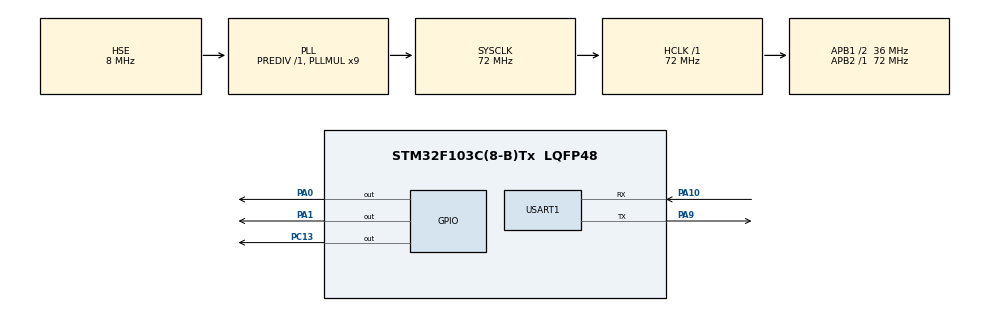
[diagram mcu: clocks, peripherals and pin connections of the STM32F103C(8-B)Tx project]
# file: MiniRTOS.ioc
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Mcu.Family=STM32F1
Mcu.Name=STM32F103C(8-B)Tx
Mcu.Package=LQFP48
NVIC.PriorityGroup=NVIC_PRIORITYGROUP_4
NVIC.TIM2_IRQn=true\:0\:0\:false\:false\:true\:true\:true\:true
PA0-WKUP.Signal=GPIO_Output
PA1.Signal=GPIO_Output
PA10.Mode=Asynchronous
PA10.Signal=USART1_RX
PA13.Mode=Serial_Wire
PA13.Signal=SYS_JTMS-SWDIO
PA14.Mode=Serial_Wire
PA14.Signal=SYS_JTCK-SWCLK
PA9.Mode=Asynchronous
PA9.Signal=USART1_TX
PC13-TAMPER-RTC.Signal=GPIO_Output
PD0-OSC_IN.Mode=HSE-External-Oscillator
PD0-OSC_IN.Signal=RCC_OSC_IN
PD1-OSC_OUT.Mode=HSE-External-Oscillator
PD1-OSC_OUT.Signal=RCC_OSC_OUT
ProjectManager.HeapSize=0x200
ProjectManager.StackSize=0x400
ProjectManager.TargetToolchain=CMake
RCC.AHBFreq_Value=72000000
RCC.APB1CLKDivider=RCC_HCLK_DIV2
RCC.APB1Freq_Value=36000000
RCC.APB1TimFreq_Value=72000000
RCC.APB2Freq_Value=72000000
RCC.APB2TimFreq_Value=72000000
RCC.HCLKFreq_Value=72000000
RCC.PLLMUL=RCC_PLL_MUL9
RCC.PLLSourceVirtual=RCC_PLLSOURCE_HSE
RCC.SYSCLKFreq_VALUE=72000000
RCC.SYSCLKSource=RCC_SYSCLKSOURCE_PLLCLK
RCC.USBFreq_Value=72000000
TIM2.Prescaler=7199
USART1.VirtualMode=VM_ASYNC
VP_TIM2_VS_ClockSourceINT.Mode=Internal
board=custom

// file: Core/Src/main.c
/* USER CODE BEGIN Header */
/**
  ******************************************************************************
  * @file           : main.c
  * @brief          : Main program body
  ******************************************************************************
  * @attention
  *
  * Copyright (c) 2026 STMicroelectronics.
  * All rights reserved.
  *
  * This software is licensed under terms that can be found in the LICENSE file
  * in the root directory of this software component.
  * If no LICENSE file comes with this software, it is provided AS-IS.
  *
  ******************************************************************************
  */
/* USER CODE END Header */
#include "main.h"

/* USER CODE BEGIN Includes */
#include "kernel.h"
#include <assert.h>
#include <stdint.h>
/* USER CODE END Includes */

TIM_HandleTypeDef htim2;

UART_HandleTypeDef huart1;

/* USER CODE BEGIN PV */
#define STACK_WORDS 128

static uint32_t task_a_stack[STACK_WORDS] __attribute__((aligned(8)));
static uint32_t task_b_stack[STACK_WORDS] __attribute__((aligned(8)));
static uint32_t task_c_stack[STACK_WORDS] __attribute__((aligned(8)));

tcb_t task_a;
tcb_t task_b;
tcb_t task_c;

static sem_t g_task_sem;
static volatile uint32_t test_sink;
static volatile uint32_t sem_ok_count;
static volatile uint32_t sem_timeout_count;
/* USER CODE END PV */

void SystemClock_Config(void);
static void MX_GPIO_Init(void);
static void MX_USART1_UART_Init(void);
static void MX_TIM2_Init(void);

/* USER CODE BEGIN 0 */
static void task_a_entry(void *arg)
{
    (void)arg;

    while (1)
    {
        uint32_t start = HAL_GetTick();

        while ((uint32_t)(HAL_GetTick() - start) < 200U)
        {
            test_sink++;
        }
        task_yield();
    }
}

static void task_b_entry(void *arg)
{
    (void)arg;

    while (1)
    {
      sem_result_t result = sem_take_timeout(&g_task_sem, 300);
      if(result == SEM_OK)
      {
        sem_ok_count++;
        HAL_GPIO_TogglePin(GPIOC, GPIO_PIN_13);
      }
      else
      {
        sem_timeout_count++;
      }
    }
}

static void task_c_entry(void *arg)
{
  (void)arg;

  while(1)
  {
    task_delay(200);

    HAL_GPIO_TogglePin(GPIOA, GPIO_PIN_0);

    sem_give(&g_task_sem);
  }
}
/* USER CODE END 0 */

int main(void)
{

  /* MCU Configuration--------------------------------------------------------*/

  /* Reset of all peripherals, Initializes the Flash interface and the Systick. */
  HAL_Init();

  /* Configure the system clock */
  SystemClock_Config();

  /* Initialize all configured peripherals */
  MX_GPIO_Init();
  MX_USART1_UART_Init();
  MX_TIM2_Init();
  /* USER CODE BEGIN 2 */
  /* task_init() 初始化并注册用户任务；idle 由 rtos_start() 内部创建。 */
  task_init(&task_a, &task_a_stack[STACK_WORDS], task_a_entry, NULL, 1);
  task_init(&task_b, &task_b_stack[STACK_WORDS], task_b_entry, NULL, 2);
  task_init(&task_c, &task_c_stack[STACK_WORDS], task_c_entry, NULL, 1);

  sem_init(&g_task_sem, 0);
  rtos_start();
  /* USER CODE END 2 */

  /* Infinite loop */
  while (1)
  {

  }
}

void SystemClock_Config(void)
{
  RCC_OscInitTypeDef RCC_OscInitStruct = {0};
  RCC_ClkInitTypeDef RCC_ClkInitStruct = {0};

  /** Initializes the RCC Oscillators according to the specified parameters
  * in the RCC_OscInitTypeDef structure.
  */
  RCC_OscInitStruct.OscillatorType = RCC_OSCILLATORTYPE_HSE;
  RCC_OscInitStruct.HSEState = RCC_HSE_ON;
  RCC_OscInitStruct.HSEPredivValue = RCC_HSE_PREDIV_DIV1;
  RCC_OscInitStruct.HSIState = RCC_HSI_ON;
  RCC_OscInitStruct.PLL.PLLState = RCC_PLL_ON;
  RCC_OscInitStruct.PLL.PLLSource = RCC_PLLSOURCE_HSE;
  RCC_OscInitStruct.PLL.PLLMUL = RCC_PLL_MUL9;
  if (HAL_RCC_OscConfig(&RCC_OscInitStruct) != HAL_OK)
  {
    Error_Handler();
  }

  /** Initializes the CPU, AHB and APB buses clocks
  */
  RCC_ClkInitStruct.ClockType = RCC_CLOCKTYPE_HCLK|RCC_CLOCKTYPE_SYSCLK
                              |RCC_CLOCKTYPE_PCLK1|RCC_CLOCKTYPE_PCLK2;
  RCC_ClkInitStruct.SYSCLKSource = RCC_SYSCLKSOURCE_PLLCLK;
  RCC_ClkInitStruct.AHBCLKDivider = RCC_SYSCLK_DIV1;
  RCC_ClkInitStruct.APB1CLKDivider = RCC_HCLK_DIV2;
  RCC_ClkInitStruct.APB2CLKDivider = RCC_HCLK_DIV1;

  if (HAL_RCC_ClockConfig(&RCC_ClkInitStruct, FLASH_LATENCY_2) != HAL_OK)
  {
    Error_Handler();
  }
}

static void MX_TIM2_Init(void)
{

  TIM_ClockConfigTypeDef sClockSourceConfig = {0};
  TIM_MasterConfigTypeDef sMasterConfig = {0};

  htim2.Instance = TIM2;
  htim2.Init.Prescaler = 7199;
  htim2.Init.CounterMode = TIM_COUNTERMODE_UP;
  htim2.Init.Period = 65535;
  htim2.Init.ClockDivision = TIM_CLOCKDIVISION_DIV1;
  htim2.Init.AutoReloadPreload = TIM_AUTORELOAD_PRELOAD_DISABLE;
  if (HAL_TIM_Base_Init(&htim2) != HAL_OK)
  {
    Error_Handler();
  }
  sClockSourceConfig.ClockSource = TIM_CLOCKSOURCE_INTERNAL;
  if (HAL_TIM_ConfigClockSource(&htim2, &sClockSourceConfig) != HAL_OK)
  {
    Error_Handler();
  }
  sMasterConfig.MasterOutputTrigger = TIM_TRGO_RESET;
  sMasterConfig.MasterSlaveMode = TIM_MASTERSLAVEMODE_DISABLE;
  if (HAL_TIMEx_MasterConfigSynchronization(&htim2, &sMasterConfig) != HAL_OK)
  {
    Error_Handler();
  }

}

static void MX_USART1_UART_Init(void)
{

  huart1.Instance = USART1;
  huart1.Init.BaudRate = 115200;
  huart1.Init.WordLength = UART_WORDLENGTH_8B;
  huart1.Init.StopBits = UART_STOPBITS_1;
  huart1.Init.Parity = UART_PARITY_NONE;
  huart1.Init.Mode = UART_MODE_TX_RX;
  huart1.Init.HwFlowCtl = UART_HWCONTROL_NONE;
  huart1.Init.OverSampling = UART_OVERSAMPLING_16;
  if (HAL_UART_Init(&huart1) != HAL_OK)
  {
    Error_Handler();
  }

}

static void MX_GPIO_Init(void)
{
  GPIO_InitTypeDef GPIO_InitStruct = {0};

  /* GPIO Ports Clock Enable */
  __HAL_RCC_GPIOC_CLK_ENABLE();
  __HAL_RCC_GPIOD_CLK_ENABLE();
  __HAL_RCC_GPIOA_CLK_ENABLE();

  /*Configure GPIO pin Output Level */
  HAL_GPIO_WritePin(GPIOC, GPIO_PIN_13, GPIO_PIN_RESET);

  /*Configure GPIO pin Output Level */
  HAL_GPIO_WritePin(GPIOA, GPIO_PIN_0|GPIO_PIN_1, GPIO_PIN_RESET);

  /*Configure GPIO pin : PC13 */
  GPIO_InitStruct.Pin = GPIO_PIN_13;
  GPIO_InitStruct.Mode = GPIO_MODE_OUTPUT_PP;
  GPIO_InitStruct.Pull = GPIO_NOPULL;
  GPIO_InitStruct.Speed = GPIO_SPEED_FREQ_LOW;
  HAL_GPIO_Init(GPIOC, &GPIO_InitStruct);

  /*Configure GPIO pins : PA0 PA1 */
  GPIO_InitStruct.Pin = GPIO_PIN_0|GPIO_PIN_1;
  GPIO_InitStruct.Mode = GPIO_MODE_OUTPUT_PP;
  GPIO_InitStruct.Pull = GPIO_NOPULL;
  GPIO_InitStruct.Speed = GPIO_SPEED_FREQ_LOW;
  HAL_GPIO_Init(GPIOA, &GPIO_InitStruct);

}

void Error_Handler(void)
{
  __disable_irq();
  while (1)
  {
  }
}
